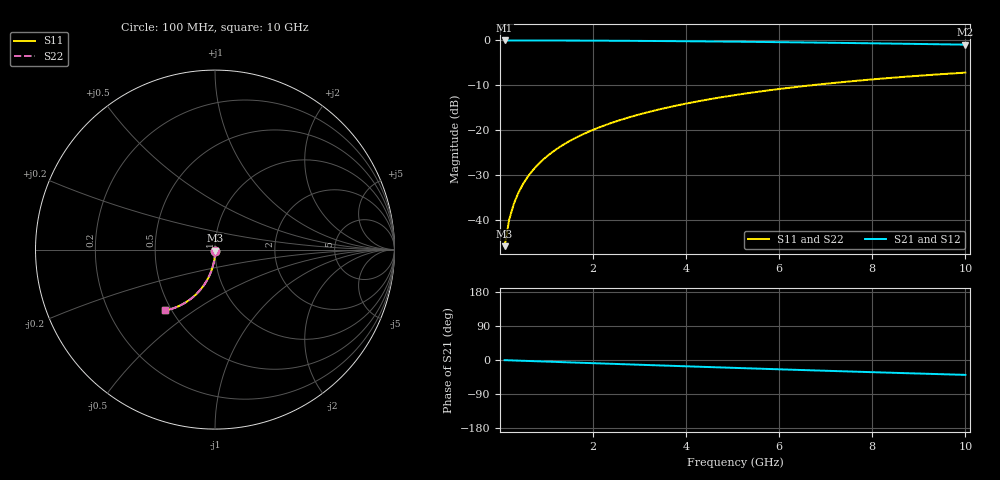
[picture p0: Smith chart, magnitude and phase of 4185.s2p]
# Hz S RI R 50.00
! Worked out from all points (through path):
!   100 points, 100 MHz to 10 GHz, reference 50 ohm
!   highest |S21| = 0.00 dB at 100 MHz (marker M1); lowest = -0.9 dB at 10 GHz (marker M2)
!   group delay of S21, straight-line fit = 10.9 ps
!   lowest |S11| = -45.8 dB at 100 MHz (marker M3), VSWR 1.01, Z = 50 - j0.508 ohm
!   |S11| at or under -10 dB: start of sweep to 6.684 GHz
!   |S22| runs from -45.8 to -7.2 dB; largest |S21 - S12| = 0
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1e8  0.000495 -0.00508  0.9994 -0.00733  0.9994 -0.00733  0.000495 -0.00508
2e8  0.000382 -0.0102  0.9993 -0.0147  0.9993 -0.0147  0.000382 -0.0102
3e8  0.000192 -0.0152  0.9991 -0.022  0.9991 -0.022  0.000192 -0.0152
4e8  -7.18e-05 -0.0203  0.9988 -0.0293  0.9988 -0.0293  -7.18e-05 -0.0203
5e8  -0.00041 -0.0254  0.9984 -0.0366  0.9984 -0.0366  -0.00041 -0.0254
6e8  -0.000823 -0.0304  0.998 -0.0439  0.998 -0.0439  -0.000823 -0.0304
7e8  -0.00131 -0.0355  0.9975 -0.0512  0.9975 -0.0512  -0.00131 -0.0355
8e8  -0.00187 -0.0405  0.9969 -0.0585  0.9969 -0.0585  -0.00187 -0.0405
9e8  -0.0025 -0.0455  0.9962 -0.0658  0.9962 -0.0658  -0.0025 -0.0455
1.1e9  -0.00399 -0.0556  0.9946 -0.0803  0.9946 -0.0803  -0.00399 -0.0556
1.4e9  -0.00677 -0.0705  0.9916 -0.102  0.9916 -0.102  -0.00677 -0.0705
1.8e9  -0.0115 -0.0901  0.9866 -0.1307  0.9866 -0.1307  -0.0115 -0.0901
2.1e9  -0.0157 -0.1046  0.982 -0.152  0.982 -0.152  -0.0157 -0.1046
2.5e9  -0.0224 -0.1236  0.9749 -0.1799  0.9749 -0.1799  -0.0224 -0.1236
2.9e9  -0.0301 -0.142  0.9666 -0.2074  0.9666 -0.2074  -0.0301 -0.142
3.4e9  -0.0411 -0.1643  0.9548 -0.241  0.9548 -0.241  -0.0411 -0.1643
4.2e9  -0.0617 -0.1977  0.9326 -0.2927  0.9326 -0.2927  -0.0617 -0.1977
5.1e9  -0.0888 -0.2318  0.9033 -0.3473  0.9033 -0.3473  -0.0888 -0.2318
5.9e9  -0.1158 -0.2586  0.874 -0.3923  0.874 -0.3923  -0.1158 -0.2586
6.7e9  -0.1449 -0.2818  0.8422 -0.4339  0.8422 -0.4339  -0.1449 -0.2818
8.4e9  -0.2116 -0.319  0.7686 -0.5104  0.7686 -0.5104  -0.2116 -0.319
1e10  -0.2769 -0.3391  0.6952 -0.5681  0.6952 -0.5681  -0.2769 -0.3391
